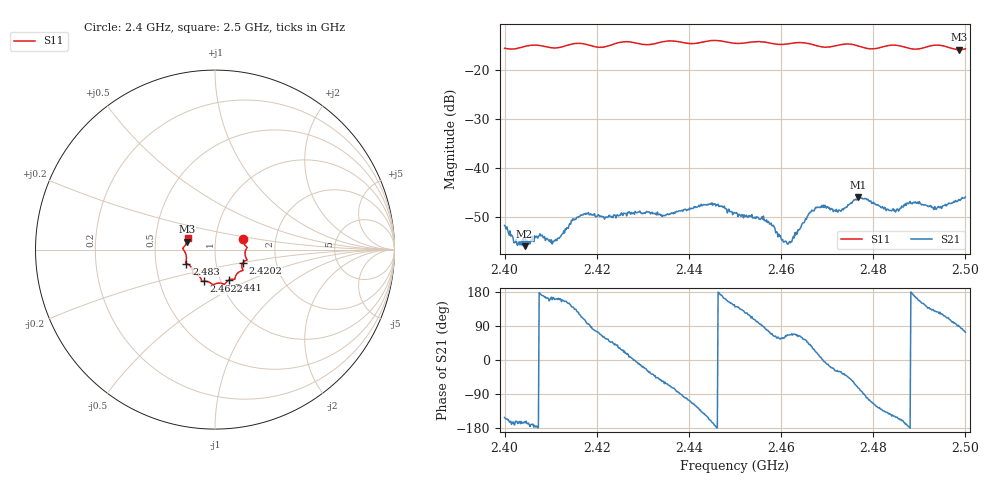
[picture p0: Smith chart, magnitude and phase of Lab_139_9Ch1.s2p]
# Hz S RI R 50
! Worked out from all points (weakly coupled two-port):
!   601 points, 2.4 GHz to 2.5 GHz, reference 50 ohm
!   highest |S21| = -45.83 dB at 2.4767 GHz (marker M1); lowest = -55.9 dB at 2.4043 GHz (marker M2)
!   lowest |S11| = -15.8 dB at 2.4987 GHz (marker M3), VSWR 1.39, Z = 36.4 + j3.32 ohm
!   |S11| at or under -10 dB: start of sweep to end of sweep
!   S12 and S22 are empty: the file has one direction only
!   S11 on the Smith chart (normalised r, x): 2.4 GHz: 1.36, +0.17; 2.4202 GHz: 1.35, -0.20; 2.441 GHz: 1.09, -0.39; 2.4622 GHz: 0.83, -0.30; 2.483 GHz: 0.72, -0.12; 2.5 GHz: 0.73, +0.09
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2.4e9  0.1559 0.06  -0.0023 -0.00124  0 0  0 0
2.4025e9  0.1633 0.0307  -0.00179 -0.000581  0 0  0 0
2.404333e9  0.1735 0.018  -0.00154 -0.000477  0 0  0 0
2.407833e9  0.1774 0.00916  -0.00203 0.000243  0 0  0 0
2.410833e9  0.1675 -0.0168  -0.00173 0.000641  0 0  0 0
2.416667e9  0.1778 -0.0582  -0.00131 0.00306  0 0  0 0
2.420167e9  0.1557 -0.072  0.000891 0.00313  0 0  0 0
2.433333e9  0.113 -0.1527  0.00228 -0.00247  0 0  0 0
2.441e9  0.0766 -0.1704  -0.00176 -0.00351  0 0  0 0
2.445167e9  0.0538 -0.1934  -0.00408 -0.00101  0 0  0 0
2.45e9  0.0263 -0.1862  -0.0027 0.00224  0 0  0 0
2.456333e9  -0.0149 -0.193  0.000168 0.00293  0 0  0 0
2.4605e9  -0.0482 -0.177  0.000926 0.00151  0 0  0 0
2.462167e9  -0.0634 -0.1766  0.00072 0.00164  0 0  0 0
2.466667e9  -0.0765 -0.1667  0.00304 0.00219  0 0  0 0
2.472667e9  -0.119 -0.1362  0.00324 -0.00189  0 0  0 0
2.476667e9  -0.1245 -0.126  0.00147 -0.00489  0 0  0 0
2.483e9  -0.1595 -0.0781  -0.00284 -0.00257  0 0  0 0
2.483333e9  -0.1609 -0.0774  -0.00298 -0.00228  0 0  0 0
2.4935e9  -0.1798 0.0049  -0.00241 0.00301  0 0  0 0
2.498667e9  -0.1556 0.0444  0.000125 0.0048  0 0  0 0
2.5e9  -0.1527 0.0633  0.00146 0.00489  0 0  0 0
